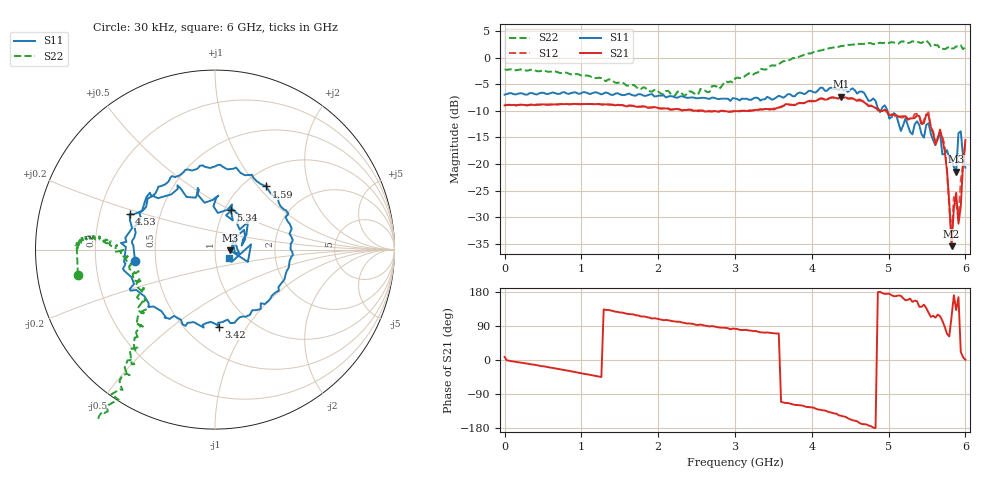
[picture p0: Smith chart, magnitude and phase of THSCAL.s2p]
!Keysight Technologies N9916A: A.08.06
!Date: Thursday, 30 May 2024 20:19:57
!Timezone: (GMT+10:00) Brisbane
!Model: N9916A
!Serial: MY53102361
!GPS Latitude:
!GPS Longitude:
!GPS TimeStamp: 0001-01-01 00:00:00Z
!GPS Seconds Since Last Read: 0
!CHECKSUM:2118525599
!Correction: S11(ON U)S21(ON U)S12(ON U)S22(ON U)
!S2P File: Measurements:S11,S21,S12,S22:
# Hz S RI R 50
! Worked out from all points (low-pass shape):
!   201 points, 30 kHz to 6 GHz, reference 50 ohm
!   highest |S21| = -7.32 dB at 4.38 GHz (marker M1); lowest = -35.5 dB at 5.82 GHz (marker M2)
!   |S21| within 3 dB of the highest: start of sweep to 4.991 GHz
!   lowest |S11| = -21.5 dB at 5.88 GHz (marker M3), VSWR 1.18, Z = 59.2 - j0.584 ohm
!   |S11| at or under -10 dB: 4.88057 GHz to 4.896897 GHz (16.33 MHz wide, 0.334 % of centre); 4.985 GHz to end of sweep
!   |S22| runs from -7.1 to 3.3 dB; largest |S21 - S12| = 0.031
!   S11 on the Smith chart (normalised r, x): 30 kHz: 0.38, -0.06; 1.59 GHz: 1.25, +1.11; 3.42 GHz: 0.71, -0.75; 4.53 GHz: 0.33, +0.18; 5.34 GHz: 1.07, +0.50; 6 GHz: 1.17, -0.11
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30000  -0.4451 -0.0645  0.3529 0.0489  0.3569 0.0732  -0.7638 -0.1409
1.020025e9  -0.0843 0.4669  0.2968 -0.2153  0.2995 -0.2139  -0.6688 0.0692
1.260024e9  0.0696 0.447  0.2585 -0.2578  0.2561 -0.2564  -0.6409 0.0557
1.290024e9  0.1035 0.4507  -0.2519 0.2644  -0.247 0.2622  -0.6166 0.0494
1.590022e9  0.2852 0.3518  -0.1847 0.2952  -0.1881 0.2984  -0.5473 0.0204
2.01002e9  0.4179 0.1409  -0.1028 0.3188  -0.1056 0.3178  -0.4686 -0.0807
3.000015e9  0.2469 -0.3326  0.0421 0.3119  0.0392 0.3151  -0.4406 -0.4607
3.420013e9  0.0195 -0.4289  0.0976 0.3149  0.0978 0.3119  -0.4866 -0.6168
3.570012e9  -0.0627 -0.4344  0.1167 0.3206  0.1143 0.3198  -0.5158 -0.7009
3.600012e9  -0.0839 -0.4228  -0.1209 -0.3207  -0.1221 -0.3262  -0.5321 -0.7309
4.02001e9  -0.3704 -0.2973  -0.2268 -0.3167  -0.2289 -0.3191  -0.6464 -0.9283
4.380008e9  -0.5239 0.0372  -0.3622 -0.2326  -0.3635 -0.2295  -0.7792 -1.029
4.530007e9  -0.4757 0.1981  -0.3866 -0.1502  -0.3858 -0.1554  -0.8377 -1.037
5.010005e9  -0.0582 0.261  -0.2875 0.0261  -0.2838 0.0256  -1.006 -0.951
5.340003e9  0.0881 0.2194  -0.2493 0.1082  -0.2686 0.1237  -1.099 -0.8911
5.670002e9  0.1624 0.1102  -0.0916 0.1902  -0.0726 0.1868  -1.066 -0.5999
5.760001e9  0.1341 -0.0183  0.0307 0.0817  0.0342 0.0803  -1.084 -0.589
5.820001e9  0.0983 0.0457  -0.00698 0.0153  -0.00874 0.0192  -1.064 -0.6097
5.850001e9  0.0936 0.00482  -0.0381 0.00609  -0.0463 0.0155  -1.073 -0.5957
5.880001e9  0.0845 -0.00489  -0.0357 0.04  -0.0383 0.0186  -1.146 -0.5734
5.91e9  0.1832 -0.0684  -0.0266 0.00665  -0.0288 0.0115  -1.137 -0.5859
6e9  0.0805 -0.0457  0.1682 0.00181  0.1602 -0.00302  -1.1 -0.6337
